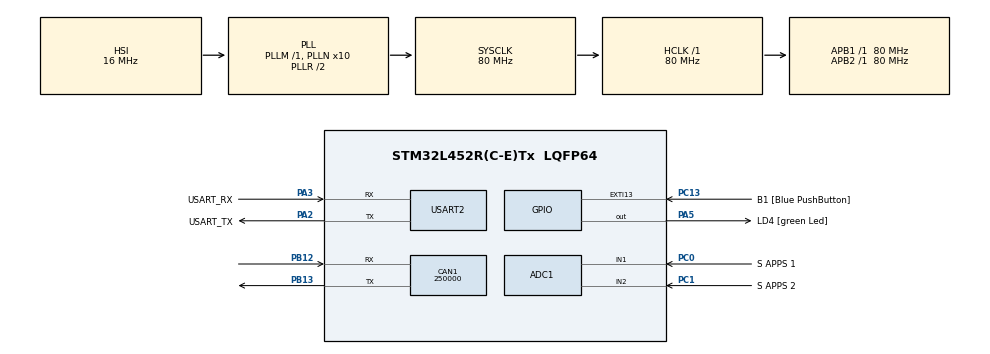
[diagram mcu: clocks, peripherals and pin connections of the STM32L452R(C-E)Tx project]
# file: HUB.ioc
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ADC1.Channel-0\#ChannelRegularConversion=ADC_CHANNEL_1
ADC1.NbrOfConversionFlag=1
ADC1.OffsetNumber-0\#ChannelRegularConversion=ADC_OFFSET_NONE
ADC1.Rank-0\#ChannelRegularConversion=1
ADC1.SamplingTime-0\#ChannelRegularConversion=ADC_SAMPLETIME_2CYCLES_5
ADC1.master=1
CAN1.BS1=CAN_BS1_16TQ
CAN1.BS2=CAN_BS2_3TQ
CAN1.CalculateBaudRate=250000
CAN1.CalculateTimeBit=4000
CAN1.CalculateTimeQuantum=200.0
Mcu.Family=STM32L4
Mcu.Name=STM32L452R(C-E)Tx
Mcu.Package=LQFP64
NVIC.ADC1_IRQn=true\:0\:0\:false\:false\:true\:true\:true\:true
NVIC.CAN1_RX0_IRQn=true\:0\:0\:false\:false\:true\:true\:true\:true
NVIC.CAN1_RX1_IRQn=true\:0\:0\:false\:false\:true\:true\:true\:true
NVIC.PriorityGroup=NVIC_PRIORITYGROUP_4
PA13\ (JTMS/SWDIO).GPIO_Label=TMS
PA13\ (JTMS/SWDIO).Mode=Serial_Wire
PA13\ (JTMS/SWDIO).Signal=SYS_JTMS-SWDIO
PA14\ (JTCK/SWCLK).GPIO_Label=TCK
PA14\ (JTCK/SWCLK).Mode=Serial_Wire
PA14\ (JTCK/SWCLK).Signal=SYS_JTCK-SWCLK
PA2.GPIO_Label=USART_TX
PA2.GPIO_Mode=GPIO_MODE_AF_PP
PA2.GPIO_PuPd=GPIO_NOPULL
PA2.GPIO_Speed=GPIO_SPEED_FREQ_VERY_HIGH
PA2.Mode=Asynchronous
PA2.Signal=USART2_TX
PA3.GPIO_Label=USART_RX
PA3.GPIO_Mode=GPIO_MODE_AF_PP
PA3.GPIO_PuPd=GPIO_NOPULL
PA3.GPIO_Speed=GPIO_SPEED_FREQ_VERY_HIGH
PA3.Mode=Asynchronous
PA3.Signal=USART2_RX
PA5.GPIO_Label=LD4 [green Led]
PA5.GPIO_ModeDefaultOutputPP=GPIO_MODE_OUTPUT_PP
PA5.GPIO_PuPd=GPIO_NOPULL
PA5.GPIO_Speed=GPIO_SPEED_FREQ_LOW
PA5.Signal=GPIO_Output
PB12.Mode=CAN_Activate
PB12.Signal=CAN1_RX
PB13.Mode=CAN_Activate
PB13.Signal=CAN1_TX
PB3\ (JTDO/TRACESWO).GPIO_Label=SWO
PB3\ (JTDO/TRACESWO).Signal=SYS_JTDO-SWO
PC0.GPIO_Label=S APPS 1
PC0.Signal=ADCx_IN1
PC1.GPIO_Label=S APPS 2
PC1.Signal=ADCx_IN2
PC13.GPIO_Label=B1 [Blue PushButton]
PC13.GPIO_ModeDefaultEXTI=GPIO_MODE_IT_FALLING
PC13.GPIO_PuPd=GPIO_NOPULL
PC13.Signal=GPXTI13
PC14-OSC32_IN\ (PC14).Mode=LSE-External-Oscillator
PC14-OSC32_IN\ (PC14).Signal=RCC_OSC32_IN
PC15-OSC32_OUT\ (PC15).Mode=LSE-External-Oscillator
PC15-OSC32_OUT\ (PC15).Signal=RCC_OSC32_OUT
PH0-OSC_IN\ (PH0).Signal=RCC_OSC_IN
PH1-OSC_OUT\ (PH1).Signal=RCC_OSC_OUT
ProjectManager.HeapSize=0x200
ProjectManager.StackSize=0x400
ProjectManager.TargetToolchain=STM32CubeIDE
RCC.ADCFreq_Value=64000000
RCC.AHBFreq_Value=80000000
RCC.APB1Freq_Value=80000000
RCC.APB1TimFreq_Value=80000000
RCC.APB2Freq_Value=80000000
RCC.APB2TimFreq_Value=80000000
RCC.CortexFreq_Value=80000000
RCC.HCLKFreq_Value=80000000
RCC.HSE_VALUE=8000000
RCC.HSI48_VALUE=48000000
RCC.HSI_VALUE=16000000
RCC.MSI_VALUE=4000000
RCC.PLLN=10
RCC.PLLSourceVirtual=RCC_PLLSOURCE_HSI
RCC.PREFETCH_ENABLE=1
RCC.SYSCLKFreq_VALUE=80000000
RCC.SYSCLKSource=RCC_SYSCLKSOURCE_PLLCLK
RCC.USBFreq_Value=64000000
RCC.VCOOutputFreq_Value=160000000
SH.ADCx_IN1.0=ADC1_IN1,IN1-Single-Ended
SH.ADCx_IN2.0=ADC1_IN2,IN2-Single-Ended
USART2.VirtualMode-Asynchronous=VM_ASYNC
board=NUCLEO-L452RE

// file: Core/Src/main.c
/* USER CODE BEGIN Header */
/**
  ******************************************************************************
  * @file           : main.c
  * @brief          : Main program body
  ******************************************************************************
  * @attention
  *
  * Copyright (c) 2024 STMicroelectronics.
  * All rights reserved.
  *
  * This software is licensed under terms that can be found in the LICENSE file
  * in the root directory of this software component.
  * If no LICENSE file comes with this software, it is provided AS-IS.
  *
  ******************************************************************************
  */
/* USER CODE END Header */
#include "main.h"

/* USER CODE BEGIN Includes */
#include <stdio.h>
#include <string.h>
#include <stdlib.h>
/* USER CODE END Includes */

ADC_HandleTypeDef hadc1;

CAN_HandleTypeDef hcan1;

UART_HandleTypeDef huart2;

void SystemClock_Config(void);
static void MX_GPIO_Init(void);
static void MX_USART2_UART_Init(void);
static void MX_CAN1_Init(void);
static void MX_ADC1_Init(void);

/* USER CODE BEGIN 0 */
CAN_TxHeaderTypeDef TxHeader;
CAN_RxHeaderTypeDef RxHeader;

uint8_t TxData[8];
uint8_t RxData[8];
uint16_t buffer_adc[2];

uint32_t TxMailBox;

int s1_aceleracion = 0; // Lectura del sensor 1 del pedal de aceleración
int s2_aceleracion = 0; // Lectura del sensor 2 del pedal de aceleración

char uart_msg[100];
char TxBuffer[250];
uint8_t error = 0;

void print(char uart_buffer[]);
void printValue(int value);
void printHex(uint8_t value);
uint8_t flag_start = 0;
/* USER CODE END 0 */

int main(void)
{

  /* MCU Configuration--------------------------------------------------------*/

  /* Reset of all peripherals, Initializes the Flash interface and the Systick. */
  HAL_Init();

  /* Configure the system clock */
  SystemClock_Config();

  /* Initialize all configured peripherals */
  MX_GPIO_Init();
  MX_USART2_UART_Init();
  MX_CAN1_Init();
  MX_ADC1_Init();
  /* USER CODE BEGIN 2 */
  //HAL_ADC_Start_DMA(&hadc1, (uint32_t*) buffer_adc, 2);
  HAL_ADC_Start(&hadc1);
  HAL_CAN_Start(&hcan1);
  if (HAL_CAN_ActivateNotification(&hcan1, CAN_IT_RX_FIFO0_MSG_PENDING) != HAL_OK)
    {
  	  Error_Handler();
    }
/*
  while (flag_start == 0){

  }
*/

  /* USER CODE END 2 */

  /* Infinite loop */
  while (1)
  {

    /* USER CODE BEGIN 3 */
	  	// printValue(s1_aceleracion);
		ADC_Select_CH1();
		HAL_ADC_Start(&hadc1);
		HAL_ADC_PollForConversion(&hadc1, HAL_MAX_DELAY);
		s1_aceleracion = HAL_ADC_GetValue(&hadc1);
		printValue(s1_aceleracion);
		HAL_ADC_Stop(&hadc1);
		HAL_Delay(50);
	  	TxHeader.DLC = 2;
		TxHeader.IDE = CAN_ID_STD;
		TxHeader.RTR = CAN_RTR_DATA;
		TxHeader.StdId = 0x111;

		TxData[0] = (s1_aceleracion >> 8) & 0xFF;
		TxData[1] = s1_aceleracion & 0xFF; // S APPS 1
		//TxData[2] = (s2_aceleracion >> 8) & 0xFF;
		//TxData[3] = s2_aceleracion & 0xFF; // S APPS 2
		if (HAL_CAN_AddTxMessage(&hcan1, &TxHeader, TxData, &TxMailBox) == HAL_OK){
			print("Valor de sensor de aceleración enviado\n\r");
			HAL_Delay(2);
		}
  }
  /* USER CODE END 3 */
}

void SystemClock_Config(void)
{
  RCC_OscInitTypeDef RCC_OscInitStruct = {0};
  RCC_ClkInitTypeDef RCC_ClkInitStruct = {0};

  /** Configure the main internal regulator output voltage
  */
  if (HAL_PWREx_ControlVoltageScaling(PWR_REGULATOR_VOLTAGE_SCALE1) != HAL_OK)
  {
    Error_Handler();
  }

  /** Initializes the RCC Oscillators according to the specified parameters
  * in the RCC_OscInitTypeDef structure.
  */
  RCC_OscInitStruct.OscillatorType = RCC_OSCILLATORTYPE_HSI;
  RCC_OscInitStruct.HSIState = RCC_HSI_ON;
  RCC_OscInitStruct.HSICalibrationValue = 64;
  RCC_OscInitStruct.PLL.PLLState = RCC_PLL_ON;
  RCC_OscInitStruct.PLL.PLLSource = RCC_PLLSOURCE_HSI;
  RCC_OscInitStruct.PLL.PLLM = 1;
  RCC_OscInitStruct.PLL.PLLN = 10;
  RCC_OscInitStruct.PLL.PLLP = RCC_PLLP_DIV7;
  RCC_OscInitStruct.PLL.PLLQ = RCC_PLLQ_DIV2;
  RCC_OscInitStruct.PLL.PLLR = RCC_PLLR_DIV2;
  if (HAL_RCC_OscConfig(&RCC_OscInitStruct) != HAL_OK)
  {
    Error_Handler();
  }

  /** Initializes the CPU, AHB and APB buses clocks
  */
  RCC_ClkInitStruct.ClockType = RCC_CLOCKTYPE_HCLK|RCC_CLOCKTYPE_SYSCLK
                              |RCC_CLOCKTYPE_PCLK1|RCC_CLOCKTYPE_PCLK2;
  RCC_ClkInitStruct.SYSCLKSource = RCC_SYSCLKSOURCE_PLLCLK;
  RCC_ClkInitStruct.AHBCLKDivider = RCC_SYSCLK_DIV1;
  RCC_ClkInitStruct.APB1CLKDivider = RCC_HCLK_DIV1;
  RCC_ClkInitStruct.APB2CLKDivider = RCC_HCLK_DIV1;

  if (HAL_RCC_ClockConfig(&RCC_ClkInitStruct, FLASH_LATENCY_4) != HAL_OK)
  {
    Error_Handler();
  }
}

static void MX_ADC1_Init(void)
{

  ADC_ChannelConfTypeDef sConfig = {0};

  /** Common config
  */
  hadc1.Instance = ADC1;
  hadc1.Init.ClockPrescaler = ADC_CLOCK_ASYNC_DIV1;
  hadc1.Init.Resolution = ADC_RESOLUTION_12B;
  hadc1.Init.DataAlign = ADC_DATAALIGN_RIGHT;
  hadc1.Init.ScanConvMode = ADC_SCAN_DISABLE;
  hadc1.Init.EOCSelection = ADC_EOC_SINGLE_CONV;
  hadc1.Init.LowPowerAutoWait = DISABLE;
  hadc1.Init.ContinuousConvMode = DISABLE;
  hadc1.Init.NbrOfConversion = 1;
  hadc1.Init.DiscontinuousConvMode = DISABLE;
  hadc1.Init.ExternalTrigConv = ADC_SOFTWARE_START;
  hadc1.Init.ExternalTrigConvEdge = ADC_EXTERNALTRIGCONVEDGE_NONE;
  hadc1.Init.DMAContinuousRequests = DISABLE;
  hadc1.Init.Overrun = ADC_OVR_DATA_PRESERVED;
  hadc1.Init.OversamplingMode = DISABLE;
  if (HAL_ADC_Init(&hadc1) != HAL_OK)
  {
    Error_Handler();
  }

  /** Configure Regular Channel
  */
  sConfig.Channel = ADC_CHANNEL_1;
  sConfig.Rank = ADC_REGULAR_RANK_1;
  sConfig.SamplingTime = ADC_SAMPLETIME_2CYCLES_5;
  sConfig.SingleDiff = ADC_SINGLE_ENDED;
  sConfig.OffsetNumber = ADC_OFFSET_NONE;
  sConfig.Offset = 0;
  if (HAL_ADC_ConfigChannel(&hadc1, &sConfig) != HAL_OK)
  {
    Error_Handler();
  }

}

static void MX_CAN1_Init(void)
{

  hcan1.Instance = CAN1;
  hcan1.Init.Prescaler = 16;
  hcan1.Init.Mode = CAN_MODE_NORMAL;
  hcan1.Init.SyncJumpWidth = CAN_SJW_1TQ;
  hcan1.Init.TimeSeg1 = CAN_BS1_16TQ;
  hcan1.Init.TimeSeg2 = CAN_BS2_3TQ;
  hcan1.Init.TimeTriggeredMode = DISABLE;
  hcan1.Init.AutoBusOff = DISABLE;
  hcan1.Init.AutoWakeUp = DISABLE;
  hcan1.Init.AutoRetransmission = DISABLE;
  hcan1.Init.ReceiveFifoLocked = DISABLE;
  hcan1.Init.TransmitFifoPriority = DISABLE;
  if (HAL_CAN_Init(&hcan1) != HAL_OK)
  {
    Error_Handler();
  }
  /* USER CODE BEGIN CAN1_Init 2 */
  CAN_FilterTypeDef canfilterconfig;

  canfilterconfig.FilterActivation = CAN_FILTER_ENABLE;
  canfilterconfig.FilterBank = 0;
  canfilterconfig.FilterFIFOAssignment = CAN_FILTER_FIFO0;
  canfilterconfig.FilterIdHigh = 0;
  canfilterconfig.FilterIdLow = 0;
  canfilterconfig.FilterMaskIdHigh = 0;
  canfilterconfig.FilterMaskIdLow = 0;
  canfilterconfig.FilterMode = CAN_FILTERMODE_IDMASK;
  canfilterconfig.FilterScale = CAN_FILTERSCALE_32BIT;
  canfilterconfig.SlaveStartFilterBank = 0;

  HAL_CAN_ConfigFilter(&hcan1, &canfilterconfig);
  /* USER CODE END CAN1_Init 2 */

}

static void MX_USART2_UART_Init(void)
{

  huart2.Instance = USART2;
  huart2.Init.BaudRate = 115200;
  huart2.Init.WordLength = UART_WORDLENGTH_8B;
  huart2.Init.StopBits = UART_STOPBITS_1;
  huart2.Init.Parity = UART_PARITY_NONE;
  huart2.Init.Mode = UART_MODE_TX_RX;
  huart2.Init.HwFlowCtl = UART_HWCONTROL_NONE;
  huart2.Init.OverSampling = UART_OVERSAMPLING_16;
  huart2.Init.OneBitSampling = UART_ONE_BIT_SAMPLE_DISABLE;
  huart2.AdvancedInit.AdvFeatureInit = UART_ADVFEATURE_NO_INIT;
  if (HAL_UART_Init(&huart2) != HAL_OK)
  {
    Error_Handler();
  }

}

static void MX_GPIO_Init(void)
{
  GPIO_InitTypeDef GPIO_InitStruct = {0};

  /* GPIO Ports Clock Enable */
  __HAL_RCC_GPIOC_CLK_ENABLE();
  __HAL_RCC_GPIOH_CLK_ENABLE();
  __HAL_RCC_GPIOA_CLK_ENABLE();
  __HAL_RCC_GPIOB_CLK_ENABLE();

  /*Configure GPIO pin Output Level */
  HAL_GPIO_WritePin(LD4_GPIO_Port, LD4_Pin, GPIO_PIN_RESET);

  /*Configure GPIO pin : B1_Pin */
  GPIO_InitStruct.Pin = B1_Pin;
  GPIO_InitStruct.Mode = GPIO_MODE_IT_FALLING;
  GPIO_InitStruct.Pull = GPIO_NOPULL;
  HAL_GPIO_Init(B1_GPIO_Port, &GPIO_InitStruct);

  /*Configure GPIO pin : LD4_Pin */
  GPIO_InitStruct.Pin = LD4_Pin;
  GPIO_InitStruct.Mode = GPIO_MODE_OUTPUT_PP;
  GPIO_InitStruct.Pull = GPIO_NOPULL;
  GPIO_InitStruct.Speed = GPIO_SPEED_FREQ_LOW;
  HAL_GPIO_Init(LD4_GPIO_Port, &GPIO_InitStruct);

}

/* USER CODE BEGIN 4 */
void print(char uart_buffer[]) {
	sprintf(uart_msg, "%s \n\r", uart_buffer);
	HAL_UART_Transmit(&huart2, (uint8_t*) uart_msg, strlen(uart_msg),
	HAL_MAX_DELAY);

}

void printValue(int value) {
	sprintf(uart_msg, "%hu \n\r", value);
	HAL_UART_Transmit(&huart2, (uint8_t*) uart_msg, strlen(uart_msg),
	HAL_MAX_DELAY);

}

void printHex(uint8_t value) {
	sprintf(uart_msg, "0x%02X \n\r", value);
	HAL_UART_Transmit(&huart2, (uint8_t*) uart_msg, strlen(uart_msg),
	HAL_MAX_DELAY);
}
/*
void HAL_ADC_ConvCpltCallback(ADC_HandleTypeDef *hadc) {
	print("updating");
	s1_aceleracion = buffer_adc[0];
	s2_aceleracion = buffer_adc[1];
}
*/
void ADC_Select_CH1 (void)
{
	ADC_ChannelConfTypeDef sConfig = {0};
	  /** Configure for the selected ADC regular channel its corresponding rank in the sequencer and its sample time.
	  */
	  sConfig.Channel = ADC_CHANNEL_1;
	  sConfig.Rank = ADC_REGULAR_RANK_1;
	  sConfig.SamplingTime = ADC_SAMPLETIME_2CYCLES_5;
	  sConfig.SingleDiff = ADC_SINGLE_ENDED;
	  sConfig.OffsetNumber = ADC_OFFSET_NONE;
	  sConfig.Offset = 0;
	  if (HAL_ADC_ConfigChannel(&hadc1, &sConfig) != HAL_OK)
	  {
	    Error_Handler();
	  }
}

void HAL_CAN_RxFifo0MsgPendingCallback(CAN_HandleTypeDef *hcan)
{
  if (HAL_CAN_GetRxMessage(hcan, CAN_RX_FIFO0, &RxHeader, RxData) != HAL_OK)
  {
    Error_Handler();
  }
  if ((RxHeader.StdId == 0x101)) // señal recibida de la ECU para comenzar comunicaciones
  {
	  if (RxData[0] == 1){
		  flag_start = 1;
	  }
  }
}

/* USER CODE END 4 */

void Error_Handler(void)
{
  __disable_irq();
  while (1)
  {
  }
}
